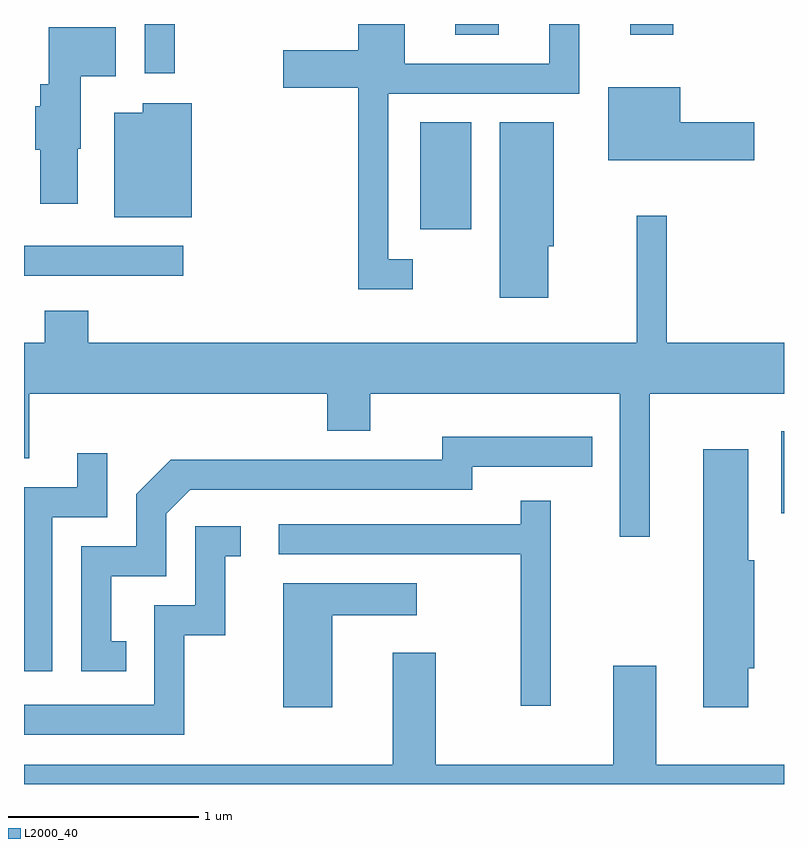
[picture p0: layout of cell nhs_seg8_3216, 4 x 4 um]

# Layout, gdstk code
import gdstk
lib = gdstk.Library(unit=1e-6, precision=1e-09)
def R(c, l, rs):  # rectangles x0, y0, x1, y1
    for r in rs: c.add(gdstk.rectangle(r[:2], r[2:], *l))
def P(c, l, *ps):  # polygons
    for p in ps: c.add(gdstk.Polygon(p, *l))
L2000_40 = (2000, 40)

nhs_seg8_3216 = lib.new_cell('nhs_seg8_3216')
R(nhs_seg8_3216, L2000_40, [(285.596,1855.766,285.611,1856.199), (281.611,1857.016,282.448,1857.174), (283.696,1857.261,283.964,1857.824), (282.246,1858.083,282.404,1858.342), (283.881,1858.286,284.109,1858.342), (284.801,1858.286,285.029,1858.342)])
P(nhs_seg8_3216, L2000_40, [(283.658,1857.104),(283.529,1857.104),(283.529,1857.976),(284.534,1857.976),(284.534,1858.342),(284.376,1858.342),(284.376,1858.134),(283.614,1858.134),(283.614,1858.342),(283.371,1858.342),(283.371,1858.204),(282.976,1858.204),(282.976,1858.006),(283.371,1858.006),(283.371,1856.946),(283.658,1856.946)],
  [(281.894,1857.685),(281.909,1857.685),(281.909,1858.066),(282.094,1858.066),(282.094,1858.324),(281.741,1858.324),(281.741,1858.024),(281.696,1858.024),(281.696,1857.909),(281.671,1857.909),(281.671,1857.681),(281.696,1857.681),(281.696,1857.396),(281.894,1857.396)],
  [(285.454,1857.824),(285.064,1857.824),(285.064,1858.009),(284.686,1858.009),(284.686,1857.626),(285.454,1857.626)],
  [(282.494,1857.924),(282.236,1857.924),(282.236,1857.874),(282.086,1857.874),(282.086,1857.326),(282.494,1857.326)],
  [(284.369,1857.171),(284.399,1857.171),(284.399,1857.824),(284.116,1857.824),(284.116,1856.901),(284.369,1856.901)],
  [(284.904,1856.396),(285.611,1856.396),(285.611,1856.664),(284.994,1856.664),(284.994,1857.333),(284.836,1857.333),(284.836,1856.664),(281.949,1856.664),(281.949,1856.834),(281.721,1856.834),(281.721,1856.664),(281.611,1856.664),(281.611,1856.056),(281.639,1856.056),(281.639,1856.396),(283.206,1856.396),(283.206,1856.201),(283.434,1856.201),(283.434,1856.396),(284.746,1856.396),(284.746,1855.643),(284.904,1855.643)],
  [(282.148,1855.094),(282.069,1855.094),(282.069,1855.436),(282.359,1855.436),(282.359,1855.764),(282.487,1855.891),(283.969,1855.891),(283.969,1856.011),(284.603,1856.011),(284.603,1856.169),(283.811,1856.169),(283.811,1856.049),(282.384,1856.049),(282.201,1855.867),(282.201,1855.594),(281.911,1855.594),(281.911,1854.936),(282.148,1854.936)],
  [(285.424,1854.951),(285.454,1854.951),(285.454,1855.519),(285.424,1855.519),(285.424,1856.104),(285.186,1856.104),(285.186,1854.746),(285.424,1854.746)],
  [(281.759,1855.746),(282.049,1855.746),(282.049,1856.083),(281.891,1856.083),(281.891,1855.904),(281.611,1855.904),(281.611,1854.936),(281.759,1854.936)],
  [(284.384,1855.833),(284.226,1855.833),(284.226,1855.709),(282.953,1855.709),(282.953,1855.551),(284.226,1855.551),(284.226,1854.753),(284.384,1854.753)],
  [(282.454,1855.126),(282.669,1855.126),(282.669,1855.541),(282.753,1855.541),(282.753,1855.699),(282.511,1855.699),(282.511,1855.284),(282.296,1855.284),(282.296,1854.759),(281.611,1854.759),(281.611,1854.601),(282.454,1854.601)],
  [(283.234,1855.231),(283.678,1855.231),(283.678,1855.399),(282.976,1855.399),(282.976,1854.746),(283.234,1854.746)],
  [(285.611,1854.444),(284.939,1854.444),(284.939,1854.964),(284.711,1854.964),(284.711,1854.444),(283.779,1854.444),(283.779,1855.034),(283.551,1855.034),(283.551,1854.444),(281.611,1854.444),(281.611,1854.342),(285.611,1854.342)])

lib.write_gds('nhs_seg8_3216.gds')
